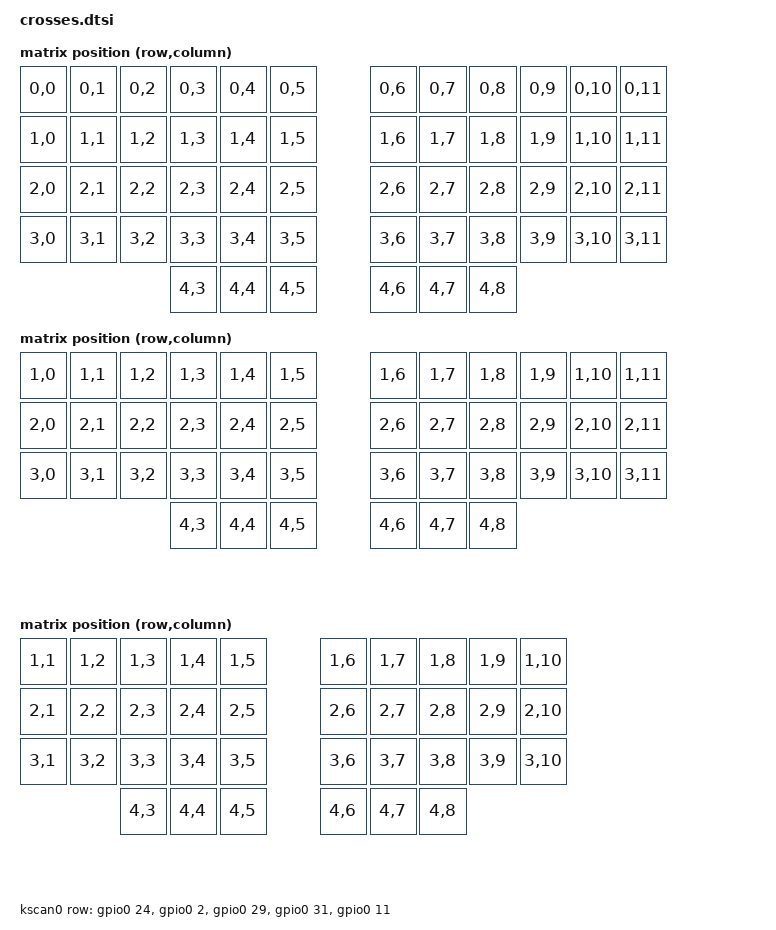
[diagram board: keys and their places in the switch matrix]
/*
 * Copyright (c) 2025 Vincent Franco
 * SPDX-License-Identifier: MIT
 */
#include <dt-bindings/zmk/matrix_transform.h>
#include <dt-bindings/zmk/input_transform.h>
#include <input/processors.dtsi>
#include <input/processors/report_rate_limit.dtsi>
#include <behaviors/rate_limit.dtsi>

#include "fifty_four_layout.dtsi"
#include "forty_two_layout.dtsi"
#include "thirty_six_layout.dtsi"

&gggw_crosses_54_layout {
  transform = <&default_transform>;
};

&gggw_crosses_42_layout {
  transform = <&forty_two_transform>;
};

&gggw_crosses_36_layout {
  transform = <&thirty_six_transform>;
};

/ {
  chosen {
    zmk,kscan = &kscan0;
    zmk,battery = &vbatt;
    zmk,physical-layout = &gggw_crosses_54_layout;
  };

  vbatt: vbatt {
        compatible = "zmk,battery-nrf-vddh";
    };

  default_transform: keymap_transform0 {
    compatible = "zmk,matrix-transform";
    columns = <12>;
    rows = <5>;
    map = <
      RC(0,0) RC(0,1) RC(0,2) RC(0,3) RC(0,4) RC(0,5)       RC(0,6) RC(0,7) RC(0,8) RC(0,9) RC(0,10) RC(0,11)
      RC(1,0) RC(1,1) RC(1,2) RC(1,3) RC(1,4) RC(1,5)       RC(1,6) RC(1,7) RC(1,8) RC(1,9) RC(1,10) RC(1,11)
      RC(2,0) RC(2,1) RC(2,2) RC(2,3) RC(2,4) RC(2,5)       RC(2,6) RC(2,7) RC(2,8) RC(2,9) RC(2,10) RC(2,11)
      RC(3,0) RC(3,1) RC(3,2) RC(3,3) RC(3,4) RC(3,5)       RC(3,6) RC(3,7) RC(3,8) RC(3,9) RC(3,10) RC(3,11)
                              RC(4,3) RC(4,4) RC(4,5)       RC(4,6) RC(4,7) RC(4,8)
    >;
  };

  forty_two_transform: keymap_transform1 {
    compatible = "zmk,matrix-transform";
    columns = <12>;
    rows = <5>;
    map = <
      RC(1,0) RC(1,1) RC(1,2) RC(1,3) RC(1,4) RC(1,5)       RC(1,6) RC(1,7) RC(1,8) RC(1,9) RC(1,10) RC(1,11)
      RC(2,0) RC(2,1) RC(2,2) RC(2,3) RC(2,4) RC(2,5)       RC(2,6) RC(2,7) RC(2,8) RC(2,9) RC(2,10) RC(2,11)
      RC(3,0) RC(3,1) RC(3,2) RC(3,3) RC(3,4) RC(3,5)       RC(3,6) RC(3,7) RC(3,8) RC(3,9) RC(3,10) RC(3,11)
                              RC(4,3) RC(4,4) RC(4,5)       RC(4,6) RC(4,7) RC(4,8)
    >;
  };

  thirty_six_transform: keymap_transform2 {
    compatible = "zmk,matrix-transform";
    columns = <12>;
    rows = <5>;
    map = <
      RC(1,1) RC(1,2) RC(1,3) RC(1,4) RC(1,5)           RC(1,6) RC(1,7) RC(1,8) RC(1,9) RC(1,10)
      RC(2,1) RC(2,2) RC(2,3) RC(2,4) RC(2,5)           RC(2,6) RC(2,7) RC(2,8) RC(2,9) RC(2,10)
      RC(3,1) RC(3,2) RC(3,3) RC(3,4) RC(3,5)           RC(3,6) RC(3,7) RC(3,8) RC(3,9) RC(3,10)
                      RC(4,3) RC(4,4) RC(4,5)           RC(4,6) RC(4,7) RC(4,8)
    >;
  };

  kscan0: kscan0 {
    compatible = "zmk,kscan-gpio-matrix";
    diode-direction = "row2col";
    wakeup-source;

    row-gpios
        = <&gpio0 24 GPIO_ACTIVE_HIGH>
		 , <&gpio0 2 GPIO_ACTIVE_HIGH>
    	 , <&gpio0 29 GPIO_ACTIVE_HIGH>
         , <&gpio0 31 GPIO_ACTIVE_HIGH>
	     , <&gpio0 11 GPIO_ACTIVE_HIGH>
         ;
  };

	behaviors {
    rrl {
      #binding-cells = <1>;
      values-ms = <8 6 4 2>;
		};
  };

//left hand trackball
  split_inputs {
    #address-cells = <1>;
    #size-cells = <0>;

    
    trackball_split: trackball_split@0 {
      compatible = "zmk,input-split";
      reg = <0>;
    };
  };

  trackball_left_listener: trackball_left_listener {
    compatible = "zmk,input-listener";
    status = "disabled";
    device = <&trackball_split>;
  };

  trackball_right_listener: trackball_right_listener {
    compatible = "zmk,input-listener";
    status = "disabled";
    device = <&trackball_split>;
  };

};

&pinctrl {

    spi0_default: spi0_default {
        group1 {
            psels = <NRF_PSEL(SPIM_SCK, 0, 20)>,
                <NRF_PSEL(SPIM_MOSI, 0, 17)>,
                <NRF_PSEL(SPIM_MISO, 0, 25)>;
        };
    };

    spi0_sleep: spi0_sleep {
        group1 {
            psels = <NRF_PSEL(SPIM_SCK, 0, 20)>,
                <NRF_PSEL(SPIM_MOSI, 0, 17)>,
                <NRF_PSEL(SPIM_MISO, 0, 25)>;
            low-power-enable;
        };
    };

    spi3_default: spi3_default {
        group1 {
            psels = <NRF_PSEL(SPIM_MOSI, 1, 12)>; // WS2812_VEXT_DATA
        };
    };

    spi3_sleep: spi3_sleep {
        group1 {
            psels = <NRF_PSEL(SPIM_MOSI, 1, 12)>;
            low-power-enable;
        };
    };
    pwm0_default: pwm0_default {
        group1 {
            psels = <NRF_PSEL(PWM_OUT0, 1, 13)>;
        };
    };
    pwm0_sleep: pwm0_sleep {
        group1 {
            psels = <NRF_PSEL(PWM_OUT0, 1, 13)>;
            low-power-enable;
        };
    };
};

&spi3 {
    compatible = "nordic,nrf-spim";
    status = "okay";

    pinctrl-0 = <&spi3_default>;
    pinctrl-1 = <&spi3_sleep>;
    pinctrl-names = "default", "sleep";

    led_strip: ws2812@0 {
        compatible = "worldsemi,ws2812-spi";

        /* SPI */
        reg = <0>; /* ignored, but necessary for SPI bindings */
        spi-max-frequency = <4000000>;

        /* WS2812 */
        chain-length = <7>; /* 6 keys have underglow at the moment */
        spi-one-frame = <0x70>;
        spi-zero-frame = <0x40>;

        color-mapping = <LED_COLOR_ID_GREEN LED_COLOR_ID_RED LED_COLOR_ID_BLUE>;
    };
};


&pwm0 {
    status = "okay";
    pinctrl-0 = <&pwm0_default>;
    pinctrl-1 = <&pwm0_sleep>;
    pinctrl-names = "default", "sleep";
};

zephyr_udc0: &usbd {
    compatible = "nordic,nrf-usbd";
    status = "okay";
};
